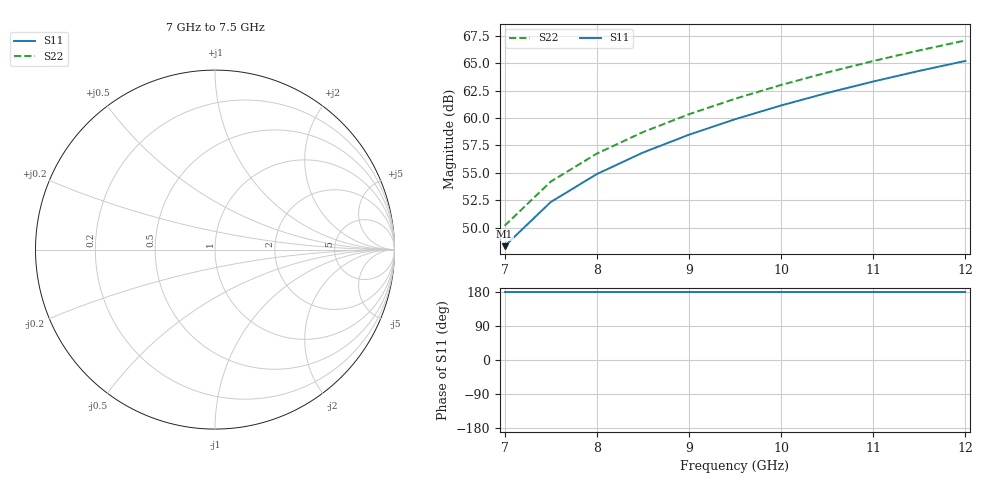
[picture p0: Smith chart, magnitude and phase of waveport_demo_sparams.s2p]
! Touchstone file generated by VectorEM
! Number of ports: 2
# Hz S RI R 50
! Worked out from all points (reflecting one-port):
!   11 points, 7 GHz to 12 GHz, reference 50 ohm
!   lowest |S11| = 48.3 dB at 7 GHz (marker M1)
!   phase of S11 starts at 180 deg and turns +0 deg over the sweep
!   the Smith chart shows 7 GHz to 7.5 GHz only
7e9  -259.9 0  1.77e-20 0  4.17e-21 0  -322.1 0
7.5e9  -413.1 0  2.82e-20 0  1.87e-21 0  -512.2 0
8e9  -554.4 0  3.79e-20 0  2.51e-21 0  -687.4 0
8.5e9  -694.9 0  4.75e-20 0  3.14e-21 0  -861.7 0
9e9  -838.4 0  5.73e-20 0  3.79e-21 0  -1040 0
9.5e9  -986.7 0  6.74e-20 0  4.47e-21 0  -1224 0
1e10  -1141 0  7.8e-20 0  5.16e-21 0  -1415 0
1.05e10  -1301 0  8.89e-20 0  5.89e-21 0  -1613 0
1.1e10  -1467 0  -5.61e-21 0  2.45e-20 0  -1820 0
1.15e10  -1641 0  -6.27e-21 0  2.74e-20 0  -2035 0
1.2e10  -1821 0  -6.96e-21 0  3.04e-20 0  -2259 0
